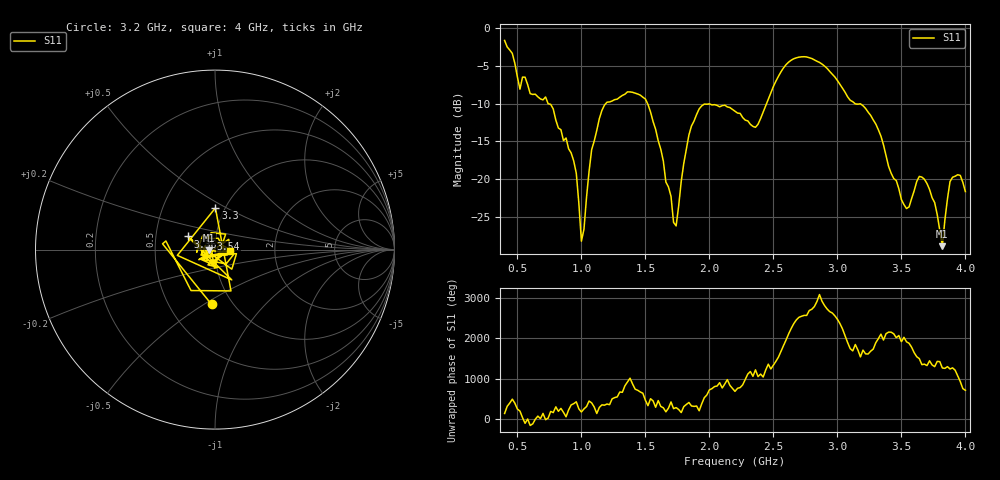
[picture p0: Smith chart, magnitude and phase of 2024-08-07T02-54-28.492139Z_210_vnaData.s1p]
!Created with skrf (http://scikit-rf.org).
# Hz S RI R 50.0
!freq ReS11 ImS11
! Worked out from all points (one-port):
!   181 points, 400 MHz to 4 GHz, reference 50 ohm
!   lowest |S11| = -28.8 dB at 3.82 GHz (marker M1), VSWR 1.08, Z = 46.5 - j0.309 ohm
!   |S11| at or under -10 dB: 739.6 MHz to 1.19 GHz (450.6 MHz wide, 46.7 % of centre); 1.517 GHz to 2.447 GHz (929.8 MHz wide, 46.9 % of centre); 3.138 GHz to end of sweep
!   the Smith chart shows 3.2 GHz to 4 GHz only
!   S11 on the Smith chart (normalised r, x): 3.2 GHz: 0.80, -0.54; 3.3 GHz: 0.90, +0.44; 3.36 GHz: 0.73, +0.11; 3.54 GHz: 0.95, +0.11; 4 GHz: 1.18, -0.01
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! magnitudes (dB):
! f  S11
! 400 MHz  -1.7
! 520 MHz  -8.1
! 720 MHz  -9.1
! 860 MHz  -14.9
! 960 MHz  -19.2
! 1 GHz  -28.2
! 1.08 GHz  -16.1
! 1.14 GHz  -12.0
! 1.3 GHz  -9.2
! 1.5 GHz  -9.4
! 1.62 GHz  -16.0
! 1.72 GHz  -25.7
! 1.76 GHz  -23.5
! 1.84 GHz  -14.1
! 1.92 GHz  -10.7
! 2.2 GHz  -11.0
! 2.36 GHz  -13.1
! 2.66 GHz  -4.1
! 3.1 GHz  -9.6
! 3.2 GHz  -10.3
! 3.3 GHz  -12.7
! 3.36 GHz  -15.4
! 3.54 GHz  -23.9
! 3.56 GHz  -23.6
! 3.68 GHz  -20.0
! 3.82 GHz  -28.8
! 3.88 GHz  -20.3
! 4 GHz  -21.6
